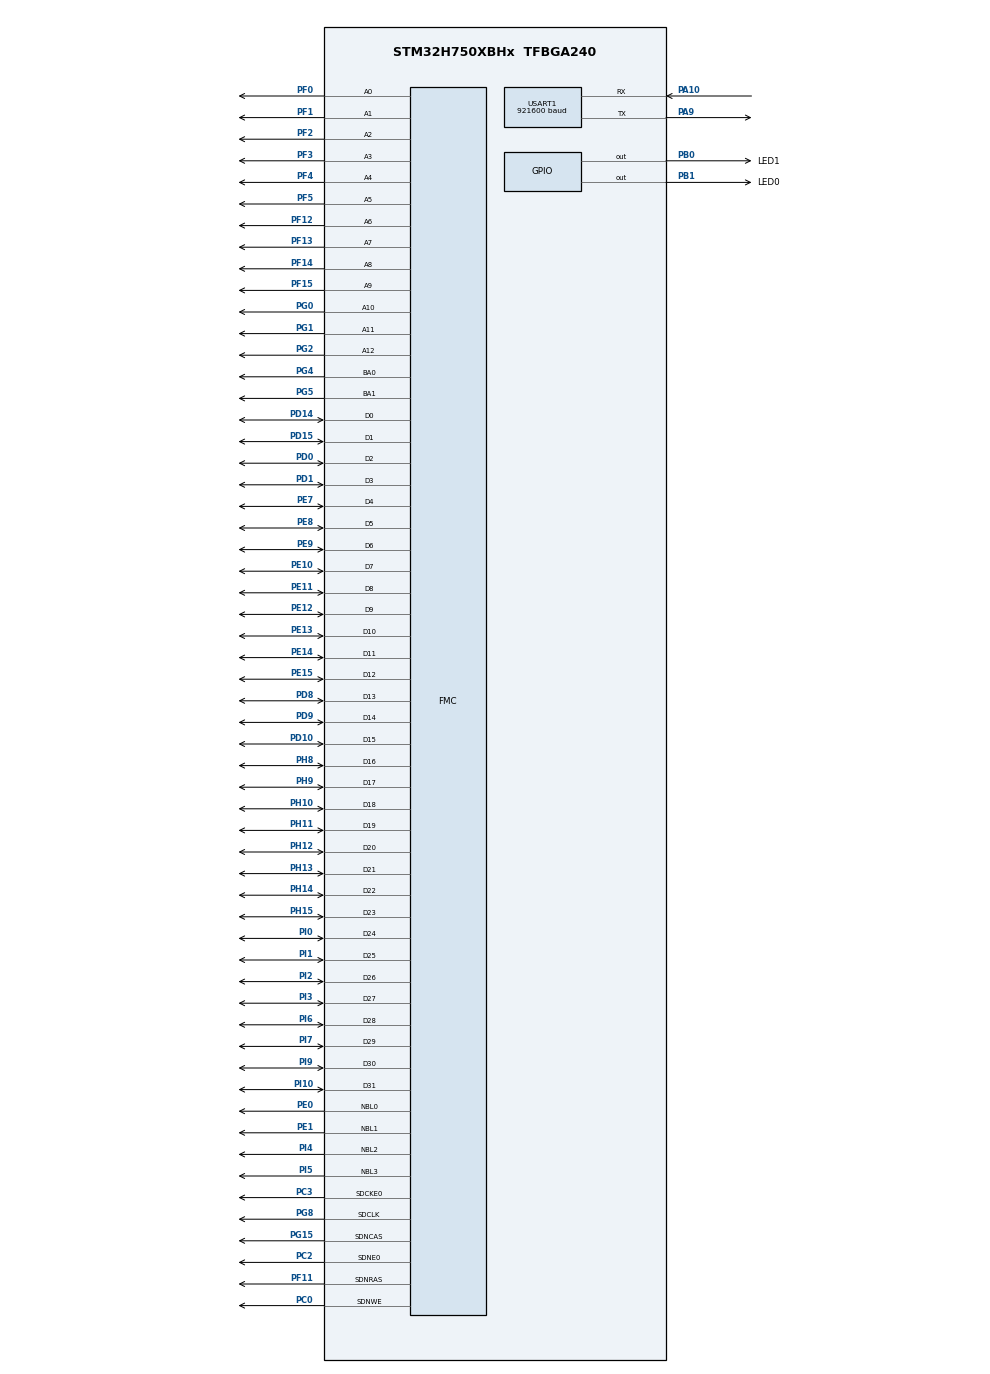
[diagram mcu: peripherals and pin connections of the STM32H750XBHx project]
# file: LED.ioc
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CORTEX_M7.CPU_DCache=Enabled
CORTEX_M7.CPU_ICache=Enabled
Dma.MEMTOMEM.0.Direction=DMA_MEMORY_TO_MEMORY
Dma.MEMTOMEM.0.EventEnable=DISABLE
Dma.MEMTOMEM.0.FIFOMode=DMA_FIFOMODE_ENABLE
Dma.MEMTOMEM.0.FIFOThreshold=DMA_FIFO_THRESHOLD_FULL
Dma.MEMTOMEM.0.Instance=DMA1_Stream0
Dma.MEMTOMEM.0.MemBurst=DMA_MBURST_INC4
Dma.MEMTOMEM.0.MemDataAlignment=DMA_MDATAALIGN_WORD
Dma.MEMTOMEM.0.MemInc=DMA_MINC_ENABLE
Dma.MEMTOMEM.0.Mode=DMA_NORMAL
Dma.MEMTOMEM.0.PeriphBurst=DMA_PBURST_INC4
Dma.MEMTOMEM.0.PeriphDataAlignment=DMA_PDATAALIGN_WORD
Dma.MEMTOMEM.0.PeriphInc=DMA_PINC_ENABLE
Dma.MEMTOMEM.0.Polarity=HAL_DMAMUX_REQ_GEN_RISING
Dma.MEMTOMEM.0.Priority=DMA_PRIORITY_LOW
Dma.MEMTOMEM.0.RequestNumber=1
Dma.MEMTOMEM.0.SignalID=NONE
Dma.MEMTOMEM.0.SyncEnable=DISABLE
Dma.MEMTOMEM.0.SyncPolarity=HAL_DMAMUX_SYNC_NO_EVENT
Dma.MEMTOMEM.0.SyncRequestNumber=1
Dma.MEMTOMEM.0.SyncSignalID=NONE
Dma.Request0=MEMTOMEM
FMC.CASLatency1=FMC_SDRAM_CAS_LATENCY_2
FMC.ColumnBitsNumber1=FMC_SDRAM_COLUMN_BITS_NUM_9
FMC.ExitSelfRefreshDelay1=8
FMC.LoadToActiveDelay1=2
FMC.RCDDelay1=2
FMC.RPDelay1=2
FMC.RPDelay2=2
FMC.ReadBurst1=FMC_SDRAM_RBURST_ENABLE
FMC.ReadBurst2=FMC_SDRAM_RBURST_ENABLE
FMC.RowCycleDelay1=6
FMC.RowCycleDelay2=6
FMC.SDClockPeriod1=FMC_SDRAM_CLOCK_PERIOD_2
FMC.SDClockPeriod2=FMC_SDRAM_CLOCK_PERIOD_2
FMC.SelfRefreshTime1=6
FMC.WriteRecoveryTime1=6
Mcu.Family=STM32H7
Mcu.Name=STM32H750XBHx
Mcu.Package=TFBGA240
Mdma.MDMA_Channel0.Request0=SW
Mdma.MDMA_Channel0.RequestsNb=1
Mdma.MDMA_Channel0.SW.0.BlockCount=1
Mdma.MDMA_Channel0.SW.0.BlockDataLength=65536
Mdma.MDMA_Channel0.SW.0.BufferTransferLength=128
Mdma.MDMA_Channel0.SW.0.CircularMode=MDMA_LINEAR_LIST
Mdma.MDMA_Channel0.SW.0.DataAlignment=MDMA_DATAALIGN_RIGHT
Mdma.MDMA_Channel0.SW.0.DestBlockAddressOffset=0
Mdma.MDMA_Channel0.SW.0.DestBurst=MDMA_DEST_BURST_SINGLE
Mdma.MDMA_Channel0.SW.0.DestDataSize=MDMA_DEST_DATASIZE_WORD
Mdma.MDMA_Channel0.SW.0.DestinationInc=MDMA_DEST_INC_WORD
Mdma.MDMA_Channel0.SW.0.DstAddress=0
Mdma.MDMA_Channel0.SW.0.Endianness=MDMA_LITTLE_ENDIANNESS_PRESERVE
Mdma.MDMA_Channel0.SW.0.Instance=MDMA_Channel0
Mdma.MDMA_Channel0.SW.0.MaskAddress=0
Mdma.MDMA_Channel0.SW.0.MaskData=0
Mdma.MDMA_Channel0.SW.0.Priority=MDMA_PRIORITY_LOW
Mdma.MDMA_Channel0.SW.0.Rank=First
Mdma.MDMA_Channel0.SW.0.SourceBlockAddressOffset=0
Mdma.MDMA_Channel0.SW.0.SourceBurst=MDMA_SOURCE_BURST_SINGLE
Mdma.MDMA_Channel0.SW.0.SourceDataSize=MDMA_SRC_DATASIZE_WORD
Mdma.MDMA_Channel0.SW.0.SourceInc=MDMA_SRC_INC_WORD
Mdma.MDMA_Channel0.SW.0.SrcAddress=0
Mdma.MDMA_Channel0.SW.0.TransferTriggerMode=MDMA_BLOCK_TRANSFER
Mdma.RequestSet0=MDMA_Channel0
Mdma.RequestSetsNb=1
NVIC.PriorityGroup=NVIC_PRIORITYGROUP_4
PA10.Mode=Asynchronous
PA10.Signal=USART1_RX
PA9.Mode=Asynchronous
PA9.Signal=USART1_TX
PB0.GPIO_Label=LED1
PB0.GPIO_ModeDefaultOutputPP=GPIO_MODE_OUTPUT_PP
PB0.GPIO_PuPd=GPIO_PULLUP
PB0.GPIO_Speed=GPIO_SPEED_FREQ_HIGH
PB0.PinState=GPIO_PIN_SET
PB0.Signal=GPIO_Output
PB1.GPIO_Label=LED0
PB1.GPIO_ModeDefaultOutputPP=GPIO_MODE_OUTPUT_PP
PB1.GPIO_PuPd=GPIO_PULLUP
PB1.GPIO_Speed=GPIO_SPEED_FREQ_HIGH
PB1.PinState=GPIO_PIN_SET
PB1.Signal=GPIO_Output
PC0.Signal=FMC_SDNWE
PC2.Mode=SdramChipSelect1_1
PC2.Signal=FMC_SDNE0
PC3.Mode=SdramChipSelect1_1
PC3.Signal=FMC_SDCKE0
PD0.Signal=FMC_D2_DA2
PD1.Signal=FMC_D3_DA3
PD10.Signal=FMC_D15_DA15
PD14.Signal=FMC_D0_DA0
PD15.Signal=FMC_D1_DA1
PD8.Signal=FMC_D13_DA13
PD9.Signal=FMC_D14_DA14
PE0.Signal=FMC_NBL0
PE1.Signal=FMC_NBL1
PE10.Signal=FMC_D7_DA7
PE11.Signal=FMC_D8_DA8
PE12.Signal=FMC_D9_DA9
PE13.Signal=FMC_D10_DA10
PE14.Signal=FMC_D11_DA11
PE15.Signal=FMC_D12_DA12
PE7.Signal=FMC_D4_DA4
PE8.Signal=FMC_D5_DA5
PE9.Signal=FMC_D6_DA6
PF0.Signal=FMC_A0
PF1.Signal=FMC_A1
PF11.Signal=FMC_SDNRAS
PF12.Signal=FMC_A6
PF13.Signal=FMC_A7
PF14.Signal=FMC_A8
PF15.Signal=FMC_A9
PF2.Signal=FMC_A2
PF3.Signal=FMC_A3
PF4.Signal=FMC_A4
PF5.Signal=FMC_A5
PG0.Signal=FMC_A10
PG1.Signal=FMC_A11
PG15.Signal=FMC_SDNCAS
PG2.Signal=FMC_A12
PG4.Signal=FMC_A14_BA0
PG5.Signal=FMC_A15_BA1
PG8.Signal=FMC_SDCLK
PH0-OSC_IN\ (PH0).Mode=HSE-External-Oscillator
PH0-OSC_IN\ (PH0).Signal=RCC_OSC_IN
PH1-OSC_OUT\ (PH1).Mode=HSE-External-Oscillator
PH1-OSC_OUT\ (PH1).Signal=RCC_OSC_OUT
PH10.Signal=FMC_D18
PH11.Signal=FMC_D19
PH12.Signal=FMC_D20
PH13.Signal=FMC_D21
PH14.Signal=FMC_D22
PH15.Signal=FMC_D23
PH8.Signal=FMC_D16
PH9.Signal=FMC_D17
PI0.Signal=FMC_D24
PI1.Signal=FMC_D25
PI10.Signal=FMC_D31
PI2.Signal=FMC_D26
PI3.Signal=FMC_D27
PI4.Signal=FMC_NBL2
PI5.Signal=FMC_NBL3
PI6.Signal=FMC_D28
PI7.Signal=FMC_D29
PI9.Signal=FMC_D30
ProjectManager.HeapSize=0x200
ProjectManager.StackSize=0x400
ProjectManager.TargetToolchain=STM32CubeIDE
RCC.ADCFreq_Value=400000000
RCC.APB1Freq_Value=120000000
RCC.APB2Freq_Value=120000000
RCC.APB3Freq_Value=120000000
RCC.APB4Freq_Value=120000000
RCC.CortexFreq_Value=480000000
RCC.D1PPRE=RCC_APB3_DIV2
RCC.D2PPRE1=RCC_APB1_DIV2
RCC.D2PPRE2=RCC_APB2_DIV2
RCC.D3PPRE=RCC_APB4_DIV2
RCC.DIVM1=5
RCC.DIVM2=5
RCC.DIVM3=5
RCC.DIVN1=192
RCC.DIVN2=160
RCC.DIVN3=4
RCC.DIVQ1=4
RCC.DIVQ2=4
RCC.DIVQ3=1
RCC.DIVR2=4
RCC.FMCCLockSelection=RCC_FMCCLKSOURCE_PLL2
RCC.HCLKFreq_Value=240000000
RCC.HPRE=RCC_HCLK_DIV2
RCC.PLLSourceVirtual=RCC_PLLSOURCE_HSE
RCC.SYSCLKFreq_VALUE=480000000
RCC.SYSCLKSource=RCC_SYSCLKSOURCE_PLLCLK
RCC.USBFreq_Value=240000000
SH.FMC_A0.0=FMC_A0,13b-sda1
SH.FMC_A1.0=FMC_A1,13b-sda1
SH.FMC_A10.0=FMC_A10,13b-sda1
SH.FMC_A11.0=FMC_A11,13b-sda1
SH.FMC_A12.0=FMC_A12,13b-sda1
SH.FMC_A14_BA0.0=FMC_BA0,FourSdramBanks1
SH.FMC_A15_BA1.0=FMC_BA1,FourSdramBanks1
SH.FMC_A2.0=FMC_A2,13b-sda1
SH.FMC_A3.0=FMC_A3,13b-sda1
SH.FMC_A4.0=FMC_A4,13b-sda1
SH.FMC_A5.0=FMC_A5,13b-sda1
SH.FMC_A6.0=FMC_A6,13b-sda1
SH.FMC_A7.0=FMC_A7,13b-sda1
SH.FMC_A8.0=FMC_A8,13b-sda1
SH.FMC_A9.0=FMC_A9,13b-sda1
SH.FMC_D0_DA0.0=FMC_D0,sd-32b-d1
SH.FMC_D10_DA10.0=FMC_D10,sd-32b-d1
SH.FMC_D11_DA11.0=FMC_D11,sd-32b-d1
SH.FMC_D12_DA12.0=FMC_D12,sd-32b-d1
SH.FMC_D13_DA13.0=FMC_D13,sd-32b-d1
SH.FMC_D14_DA14.0=FMC_D14,sd-32b-d1
SH.FMC_D15_DA15.0=FMC_D15,sd-32b-d1
SH.FMC_D16.0=FMC_D16,sd-32b-d1
SH.FMC_D17.0=FMC_D17,sd-32b-d1
SH.FMC_D18.0=FMC_D18,sd-32b-d1
SH.FMC_D19.0=FMC_D19,sd-32b-d1
SH.FMC_D1_DA1.0=FMC_D1,sd-32b-d1
SH.FMC_D20.0=FMC_D20,sd-32b-d1
SH.FMC_D21.0=FMC_D21,sd-32b-d1
SH.FMC_D22.0=FMC_D22,sd-32b-d1
SH.FMC_D23.0=FMC_D23,sd-32b-d1
SH.FMC_D24.0=FMC_D24,sd-32b-d1
SH.FMC_D25.0=FMC_D25,sd-32b-d1
SH.FMC_D26.0=FMC_D26,sd-32b-d1
SH.FMC_D27.0=FMC_D27,sd-32b-d1
SH.FMC_D28.0=FMC_D28,sd-32b-d1
SH.FMC_D29.0=FMC_D29,sd-32b-d1
SH.FMC_D2_DA2.0=FMC_D2,sd-32b-d1
SH.FMC_D30.0=FMC_D30,sd-32b-d1
SH.FMC_D31.0=FMC_D31,sd-32b-d1
SH.FMC_D3_DA3.0=FMC_D3,sd-32b-d1
SH.FMC_D4_DA4.0=FMC_D4,sd-32b-d1
SH.FMC_D5_DA5.0=FMC_D5,sd-32b-d1
SH.FMC_D6_DA6.0=FMC_D6,sd-32b-d1
SH.FMC_D7_DA7.0=FMC_D7,sd-32b-d1
SH.FMC_D8_DA8.0=FMC_D8,sd-32b-d1
SH.FMC_D9_DA9.0=FMC_D9,sd-32b-d1
SH.FMC_NBL0.0=FMC_NBL0,Sd4ByteEnable1
SH.FMC_NBL1.0=FMC_NBL1,Sd4ByteEnable1
SH.FMC_NBL2.0=FMC_NBL2,Sd4ByteEnable1
SH.FMC_NBL3.0=FMC_NBL3,Sd4ByteEnable1
SH.FMC_SDCLK.0=FMC_SDCLK,13b-sda1
SH.FMC_SDNCAS.0=FMC_SDNCAS,13b-sda1
SH.FMC_SDNRAS.0=FMC_SDNRAS,13b-sda1
SH.FMC_SDNWE.0=FMC_SDNWE,13b-sda1
TIM2.AutoReloadPreload=TIM_AUTORELOAD_PRELOAD_DISABLE
TIM2.Period=4294967295
TIM2.Prescaler=0
USART1.BaudRate=921600
USART1.VirtualMode-Asynchronous=VM_ASYNC
VP_TIM2_VS_ClockSourceINT.Mode=Internal
board=custom

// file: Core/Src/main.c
/* USER CODE BEGIN Header */
/**
  ******************************************************************************
  * @file           : main.c
  * @brief          : Main program body
  ******************************************************************************
  * @attention
  *
  * <h2><center>&copy; Copyright (c) 2021 STMicroelectronics.
  * All rights reserved.</center></h2>
  *
  * This software component is licensed by ST under BSD 3-Clause license,
  * the "License"; You may not use this file except in compliance with the
  * License. You may obtain a copy of the License at:
  *                        opensource.org/licenses/BSD-3-Clause
  *
  ******************************************************************************
  */
/* USER CODE END Header */
#include "main.h"
#include "dma.h"
#include "mdma.h"
#include "tim.h"
#include "usart.h"
#include "gpio.h"
#include "fmc.h"

/* USER CODE BEGIN Includes */
#include <stdio.h>
#include "dwt_impl.h"
/* USER CODE END Includes */

void SystemClock_Config(void);

/* USER CODE BEGIN 0 */
//uint32_t testsram[250000] __attribute__((section(".ARM.__at_0XC0000000")));
//static uint32_t * const testsram = (uint32_t *) (Bank5_SDRAM_ADDR);

#define SDRAM_1M            (1024 * 1024)
#define SDRAM_M_UNIT        (4 * SDRAM_1M)
#define SDRAM_D_WIDTH				(2 * 16)        // since we have 2 SDRAM chips on the board
#define SDRAM_BANK          (4)
#define SDRAM_TOTAL_BITS    (SDRAM_M_UNIT * SDRAM_D_WIDTH * SDRAM_BANK)
#define SDRAM_TOTAL_UNIT		(SDRAM_TOTAL_BITS / SDRAM_D_WIDTH)
//#define SDRAM_TOTAL_UNIT		(2 ^ 13)      // The total storage unit per table.

/**
 * Fill the SDRAM with the pattern 0xA244250F.
 */
static void fillSdram(void)
{
  uint32_t* pram = (uint32_t*)(Bank5_SDRAM_ADDR);
	for(int i = 0; i < SDRAM_TOTAL_UNIT; i++)
	{
		*pram++ = 0xA244250F;
	}
}

#define SRAM_PAGE_SIZE                (32 * 1024)
#define SRAM_TOTAL_PAGES              (SDRAM_TOTAL_UNIT / SRAM_PAGE_SIZE)

static uint32_t sramBuff[SRAM_PAGE_SIZE];

static void dmaTest(void)
{
  int i = 0, page = 0;
  int succeed = 1;
  float wr_cost;
  HAL_StatusTypeDef status;

  float sysClk = HAL_RCC_GetSysClockFreq();

  // fill the whole SDRAM with pattern 0x5A5A5A5A.
  fillSdram();

  printf("Page size: %d Words\r\n", SRAM_PAGE_SIZE);
  printf("Total Pages: %d \r\n", SRAM_TOTAL_PAGES);

  htim2.Instance->CNT = 0;
  HAL_TIM_Base_Start(&htim2);

  for(page = 0; page < SRAM_TOTAL_PAGES; page++)
  {
    for(i = 0; i < SRAM_PAGE_SIZE; i++)
    {
      sramBuff[i] =  (page * SRAM_PAGE_SIZE) + i;
    }

    //printf("Transferring the page %d...\r\n", page);

    uint32_t destAddr = Bank5_SDRAM_ADDR + (page * SRAM_PAGE_SIZE * 4);

    status = HAL_DMA_Start(&hdma_memtomem_dma1_stream0, (uint32_t)(sramBuff), destAddr, SRAM_PAGE_SIZE);
    status = HAL_DMA_PollForTransfer(&hdma_memtomem_dma1_stream0, HAL_DMA_FULL_TRANSFER, HAL_MAX_DELAY);

    //status = HAL_MDMA_Start(&hmdma_mdma_channel40_sw_0, (uint32_t)sramBuff, Bank5_SDRAM_ADDR, 128, 1);
    //status = HAL_MDMA_PollForTransfer(&hmdma_mdma_channel40_sw_0, HAL_MDMA_FULL_TRANSFER, HAL_MAX_DELAY);
    if(status != HAL_OK)
    {
      succeed = 0;
      printf("DMA Transfer to SDRAM failed at page %d!\r\n", page);
      break;
    }

  }

  htim2.Instance->CR1 &= 0;
  HAL_TIM_Base_Stop(&htim2);
  wr_cost = (float)htim2.Instance->CNT;

  float wr_t_s =  wr_cost * (1 / sysClk * 2);
  printf("WRITE cost: %.3fms; speed: %.1f MB/s\r\n", wr_t_s * 1000, (float)(SDRAM_TOTAL_UNIT * 4 / SDRAM_1M) / wr_t_s);

  // validate the data in the SDRAM
  if(succeed)
  {
    uint32_t *p = (uint32_t*)Bank5_SDRAM_ADDR;
    uint32_t temp;

    for(i = 0; i < SDRAM_M_UNIT; i++)
    {
      temp = *p++;
      if(temp != i)
        break;
    }

    if(i != SRAM_PAGE_SIZE - 1)
      printf("Data error in position %d\r\n", i);
    else
      printf("Data validation passed\r\n");
  }

  HAL_Delay(1000);
}

/**
 * @brief           Write the full SDRAM and read back to validate.
 *
 */
void fmc_sdram_test(void)
{
  float wr_cost = 0, rd_cost = 0;

	uint32_t i = 0;
	uint32_t temp = 0, temp_ll = 0;
	uint32_t sval = 0;
	int succeed = 1;

	printf("Filling the SDRAM with the pattern code...\r\n");
  fillSdram();

  float sysClk = HAL_RCC_GetSysClockFreq();
  printf("Total bytes written: %.0f, total words written: %.0f\r\n", (float)SDRAM_TOTAL_UNIT * 4, (float)SDRAM_TOTAL_UNIT);

  /*************** WRITE **********************/
	htim2.Instance->CNT = 0;
	HAL_TIM_Base_Start(&htim2);

	uint32_t* pram = (uint32_t*)(Bank5_SDRAM_ADDR);
	for(i = 0; i < SDRAM_TOTAL_UNIT; i++)
	{
		*pram++ = temp++;
	}

  htim2.Instance->CR1 &= 0;
  HAL_TIM_Base_Stop(&htim2);
  wr_cost = (float)htim2.Instance->CNT;

  float wr_t_s =  wr_cost * (1 / sysClk * 2);
  printf("WRITE cost: %.3fms; speed: %.1f MB/s\r\n", wr_t_s * 1000, (float)(SDRAM_TOTAL_UNIT * 4 / SDRAM_1M) / wr_t_s);

  /*************** WRITE END **********************/

  /*************** READ **********************/
  htim2.Instance->CNT = 0;
	HAL_TIM_Base_Start(&htim2);

	pram = (uint32_t*)(Bank5_SDRAM_ADDR);
 	for(i = 0; i < SDRAM_TOTAL_UNIT; i++)
	{
		temp = *pram++;
		if(i == 0)
			sval = temp;
 		else if(temp - temp_ll != 1)
 		{
 		  succeed = 0;
			break;
 		}
 		else
 		 temp_ll = temp;
	}

  htim2.Instance->CR1 &= 0;
  HAL_TIM_Base_Stop(&htim2);
  rd_cost = (float)htim2.Instance->CNT;

  if(succeed)
  {
    float rd_t_s =  rd_cost * (1 / sysClk * 2);
    printf("READ cost: %.3fms; speed: %.1f MB/s\r\n", rd_t_s * 1000, (SDRAM_TOTAL_UNIT * 4 / SDRAM_1M) / rd_t_s);
  }
  else
  {
    printf("Reading Error at position %d!\r\n", (int)i);
  }

  /*************** READ END **********************/

  float totalWords = (uint32_t)(temp - sval + 1);
  float totalBytes = totalWords * sizeof(uint32_t);
	printf("SDRAM Capacity:%.3fMB\r\n",(totalBytes / SDRAM_1M));

	printf("\r\n");

	HAL_Delay(1000);
}

/* USER CODE END 0 */

int main(void)
{

  /* Enable I-Cache---------------------------------------------------------*/
  SCB_EnableICache();

  /* Enable D-Cache---------------------------------------------------------*/
  SCB_EnableDCache();

  /* MCU Configuration--------------------------------------------------------*/

  /* Reset of all peripherals, Initializes the Flash interface and the Systick. */
  HAL_Init();

  /* Configure the system clock */
  SystemClock_Config();

  /* Initialize all configured peripherals */
  MX_GPIO_Init();
  MX_DMA_Init();
  MX_MDMA_Init();
  MX_FMC_Init();
  MX_USART1_UART_Init();
  MX_TIM2_Init();
  /* USER CODE BEGIN 2 */

  float sysClk =  HAL_RCC_GetSysClockFreq();
	printf("STM32H750 .....\r\n");
  printf("CPU Clock Freq.: %.2fMHz\r\n", sysClk / 1000000);

  /* USER CODE END 2 */

  /* Infinite loop */
  /* USER CODE BEGIN WHILE */
  while (1)
  {

		fmc_sdram_test();
    //dmaTest();

		//HAL_Delay(1000);
		HAL_GPIO_TogglePin(LED0_GPIO_Port, LED0_Pin);

    /* USER CODE END WHILE */

  }
}

void SystemClock_Config(void)
{
  RCC_OscInitTypeDef RCC_OscInitStruct = {0};
  RCC_ClkInitTypeDef RCC_ClkInitStruct = {0};

  /** Supply configuration update enable
  */
  HAL_PWREx_ConfigSupply(PWR_LDO_SUPPLY);
  /** Configure the main internal regulator output voltage
  */
  __HAL_PWR_VOLTAGESCALING_CONFIG(PWR_REGULATOR_VOLTAGE_SCALE0);

  while(!__HAL_PWR_GET_FLAG(PWR_FLAG_VOSRDY)) {}
  /** Macro to configure the PLL clock source
  */
  __HAL_RCC_PLL_PLLSOURCE_CONFIG(RCC_PLLSOURCE_HSE);
  /** Initializes the RCC Oscillators according to the specified parameters
  * in the RCC_OscInitTypeDef structure.
  */
  RCC_OscInitStruct.OscillatorType = RCC_OSCILLATORTYPE_HSE;
  RCC_OscInitStruct.HSEState = RCC_HSE_ON;
  RCC_OscInitStruct.PLL.PLLState = RCC_PLL_ON;
  RCC_OscInitStruct.PLL.PLLSource = RCC_PLLSOURCE_HSE;
  RCC_OscInitStruct.PLL.PLLM = 5;
  RCC_OscInitStruct.PLL.PLLN = 160;
  RCC_OscInitStruct.PLL.PLLP = 2;
  RCC_OscInitStruct.PLL.PLLQ = 4;
  RCC_OscInitStruct.PLL.PLLR = 2;
  RCC_OscInitStruct.PLL.PLLRGE = RCC_PLL1VCIRANGE_2;
  RCC_OscInitStruct.PLL.PLLVCOSEL = RCC_PLL1VCOWIDE;
  RCC_OscInitStruct.PLL.PLLFRACN = 0;
  if (HAL_RCC_OscConfig(&RCC_OscInitStruct) != HAL_OK)
  {
    Error_Handler();
  }
  /** Initializes the CPU, AHB and APB buses clocks
  */
  RCC_ClkInitStruct.ClockType = RCC_CLOCKTYPE_HCLK|RCC_CLOCKTYPE_SYSCLK
                              |RCC_CLOCKTYPE_PCLK1|RCC_CLOCKTYPE_PCLK2
                              |RCC_CLOCKTYPE_D3PCLK1|RCC_CLOCKTYPE_D1PCLK1;
  RCC_ClkInitStruct.SYSCLKSource = RCC_SYSCLKSOURCE_PLLCLK;
  RCC_ClkInitStruct.SYSCLKDivider = RCC_SYSCLK_DIV1;
  RCC_ClkInitStruct.AHBCLKDivider = RCC_HCLK_DIV2;
  RCC_ClkInitStruct.APB3CLKDivider = RCC_APB3_DIV2;
  RCC_ClkInitStruct.APB1CLKDivider = RCC_APB1_DIV2;
  RCC_ClkInitStruct.APB2CLKDivider = RCC_APB2_DIV2;
  RCC_ClkInitStruct.APB4CLKDivider = RCC_APB4_DIV2;

  if (HAL_RCC_ClockConfig(&RCC_ClkInitStruct, FLASH_LATENCY_4) != HAL_OK)
  {
    Error_Handler();
  }
}

void Error_Handler(void)
{
  __disable_irq();
  while (1)
  {
  }
}

/************************ (C) COPYRIGHT STMicroelectronics *****END OF FILE****/
